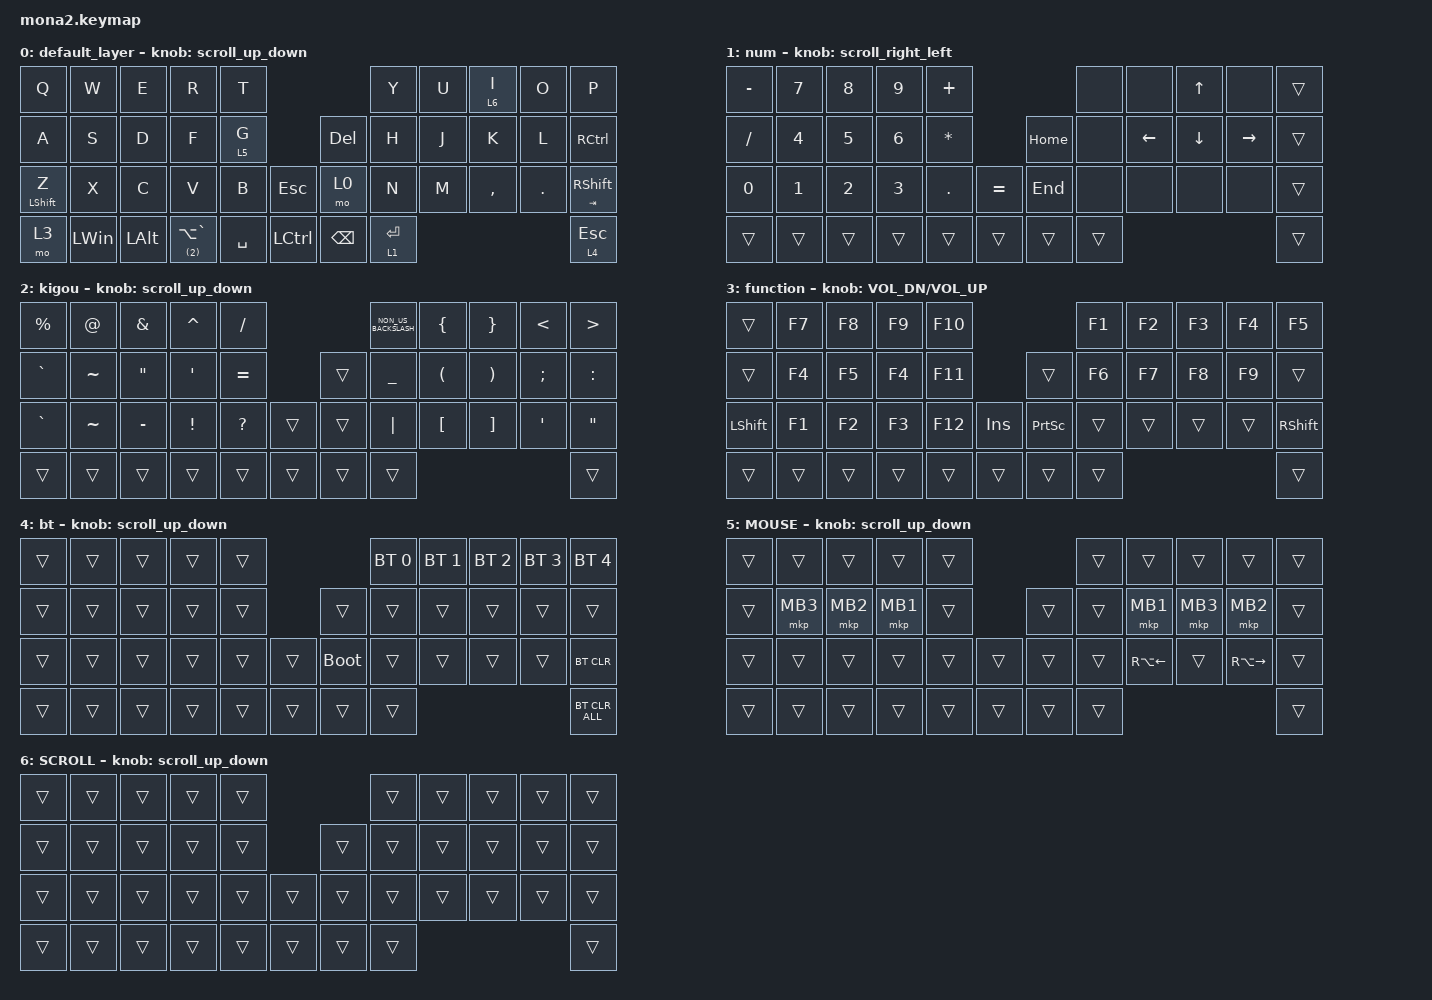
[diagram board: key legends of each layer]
#include <input/processors.dtsi>
#include <dt-bindings/zmk/input_transform.h>
#include <zephyr/dt-bindings/input/input-event-codes.h>
#include <behaviors.dtsi>
#include <dt-bindings/zmk/bt.h>
#include <dt-bindings/zmk/keys.h>
#include <dt-bindings/zmk/pointing.h>

#define ZMK_POINTING_DEFAULT_SCRL_VAL 100
#define MOUSE 5
#define SCROLL 6

&mt {
    flavor = "balanced";
    quick-tap-ms = <0>;
};

&lt {
    quick-tap-ms = <300>;
    flavor = "balanced";
};

/ {
    combos {
        compatible = "zmk,combos";

        tab {
            bindings = <&kp TAB>;
            key-positions = <11 12>;
        };

        shift_tab {
            bindings = <&kp RS(TAB)>;
            key-positions = <12 13>;
        };

        esc {
            bindings = <&kp ESCAPE>;
            key-positions = <19 20>;
        };

        ins {
            bindings = <&kp INS>;
            key-positions = <17 18>;
        };

        printscreen {
            bindings = <&kp PRINTSCREEN>;
            key-positions = <18 19>;
        };
    };

    macros {
        to_layer_0: to_layer_0 {
            compatible = "zmk,behavior-macro-one-param";
            #binding-cells = <1>;
            bindings = <&to 0 &macro_param_1to1 &kp MACRO_PLACEHOLDER>;
            label = "TO_LAYER_0";
        };
    };

    behaviors {
        lt_to_layer_0: lt_to_layer_0 {
            compatible = "zmk,behavior-hold-tap";
            label = "LAYER_TAP_TO_0";
            bindings = <&mo>, <&to_layer_0>;

            #binding-cells = <2>;
            tapping-term-ms = <200>;
        };

        scroll_up_down: mouse_wheel_up_down {
            compatible = "zmk,behavior-sensor-rotate";
            #sensor-binding-cells = <0>;
            bindings = <&msc SCRL_DOWN>, <&msc SCRL_UP>;

            tap-ms = <20>;
        };

        scroll_right_left: mouse_wheel_right_left {
            compatible = "zmk,behavior-sensor-rotate";
            #sensor-binding-cells = <0>;
            bindings = <&msc SCRL_LEFT>, <&msc SCRL_RIGHT>;

            tap-ms = <20>;
        };
    };

    keymap {
        compatible = "zmk,keymap";

        default_layer {
            bindings = <
&kp Q             &kp W         &kp E         &kp R              &kp T                                   &kp Y        &kp U  &lt 6 I    &kp O    &kp P
&kp A             &kp S         &kp D         &kp F              &lt 5 G                  &kp DEL        &kp H        &kp J  &kp K      &kp L    &kp RIGHT_CONTROL
&mt LEFT_SHIFT Z  &kp X         &kp C         &kp V              &kp B      &kp ESCAPE    &mo 0          &kp N        &kp M  &kp COMMA  &kp DOT  &mt TAB RIGHT_SHIFT
&mo 3             &kp LEFT_WIN  &kp LEFT_ALT  &lt (2) LA(GRAVE)  &kp SPACE  &kp LCTRL     &kp BACKSPACE  &lt 1 ENTER                             &lt 4 ESCAPE
            >;

            sensor-bindings = <&scroll_up_down>;
        };

        num {
            bindings = <
&kp MINUS     &kp NUMBER_7  &kp NUMBER_8  &kp NUMBER_9  &kp PLUS                             &none   &none           &kp UP_ARROW    &none            &trans
&kp SLASH     &kp NUMBER_4  &kp NUMBER_5  &kp NUMBER_6  &kp ASTERISK               &kp HOME  &none   &kp LEFT_ARROW  &kp DOWN_ARROW  &kp RIGHT_ARROW  &trans
&kp NUMBER_0  &kp NUMBER_1  &kp NUMBER_2  &kp NUMBER_3  &kp PERIOD    &kp EQUAL    &kp END   &none   &none           &none           &none            &trans
&trans        &trans        &trans        &trans        &trans        &trans       &trans    &trans                                                   &trans
            >;

            sensor-bindings = <&scroll_right_left>;
        };

        kigou {
            bindings = <
&kp PERCENT  &kp AT_SIGN  &kp AMPERSAND      &kp CARET        &kp SLASH                       &kp NON_US_BACKSLASH  &kp LEFT_BRACE        &kp RIGHT_BRACE        &kp LESS_THAN  &kp GREATER_THAN
&kp GRAVE    &kp TILDE    &kp DOUBLE_QUOTES  &kp SQT          &kp EQUAL               &trans  &kp UNDERSCORE        &kp LEFT_PARENTHESIS  &kp RIGHT_PARENTHESIS  &kp SEMICOLON  &kp COLON
&kp GRAVE    &kp TILDE    &kp MINUS          &kp EXCLAMATION  &kp QUESTION  &trans    &trans  &kp PIPE              &kp LEFT_BRACKET      &kp RIGHT_BRACKET      &kp SQT        &kp DOUBLE_QUOTES
&trans       &trans       &trans             &trans           &trans        &trans    &trans  &trans                                                                            &trans
            >;

            sensor-bindings = <&scroll_up_down>;
        };

        function {
            bindings = <
&trans      &kp F7  &kp F8  &kp F9  &kp F10                              &kp F1  &kp F2  &kp F3  &kp F4  &kp F5
&trans      &kp F4  &kp F5  &kp F4  &kp F11             &trans           &kp F6  &kp F7  &kp F8  &kp F9  &trans
&kp LSHIFT  &kp F1  &kp F2  &kp F3  &kp F12  &kp INS    &kp PRINTSCREEN  &trans  &trans  &trans  &trans  &kp RIGHT_SHIFT
&trans      &trans  &trans  &trans  &trans   &trans     &trans           &trans                          &trans
            >;

            sensor-bindings = <&inc_dec_kp C_VOL_DN C_VOL_UP>;
        };

        bt {
            bindings = <
&trans  &trans  &trans  &trans  &trans                         &bt BT_SEL 0  &bt BT_SEL 1  &bt BT_SEL 2  &bt BT_SEL 3  &bt BT_SEL 4
&trans  &trans  &trans  &trans  &trans            &trans       &trans        &trans        &trans        &trans        &trans
&trans  &trans  &trans  &trans  &trans  &trans    &bootloader  &trans        &trans        &trans        &trans        &bt BT_CLR
&trans  &trans  &trans  &trans  &trans  &trans    &trans       &trans                                                  &bt BT_CLR_ALL
            >;

            sensor-bindings = <&scroll_up_down>;
        };

        MOUSE {
            bindings = <
&trans  &trans    &trans    &trans    &trans                    &trans  &trans              &trans    &trans               &trans
&trans  &mkp MB3  &mkp MB2  &mkp MB1  &trans            &trans  &trans  &mkp MB1            &mkp MB3  &mkp MB2             &trans
&trans  &trans    &trans    &trans    &trans  &trans    &trans  &trans  &kp RA(LEFT_ARROW)  &trans    &kp RA(RIGHT_ARROW)  &trans
&trans  &trans    &trans    &trans    &trans  &trans    &trans  &trans                                                     &trans
            >;

            sensor-bindings = <&scroll_up_down>;
        };

        SCROLL {
            bindings = <
&trans  &trans  &trans  &trans  &trans                    &trans  &trans  &trans  &trans  &trans
&trans  &trans  &trans  &trans  &trans            &trans  &trans  &trans  &trans  &trans  &trans
&trans  &trans  &trans  &trans  &trans  &trans    &trans  &trans  &trans  &trans  &trans  &trans
&trans  &trans  &trans  &trans  &trans  &trans    &trans  &trans                          &trans
            >;

            sensor-bindings = <&scroll_up_down>;
        };
    };
};
